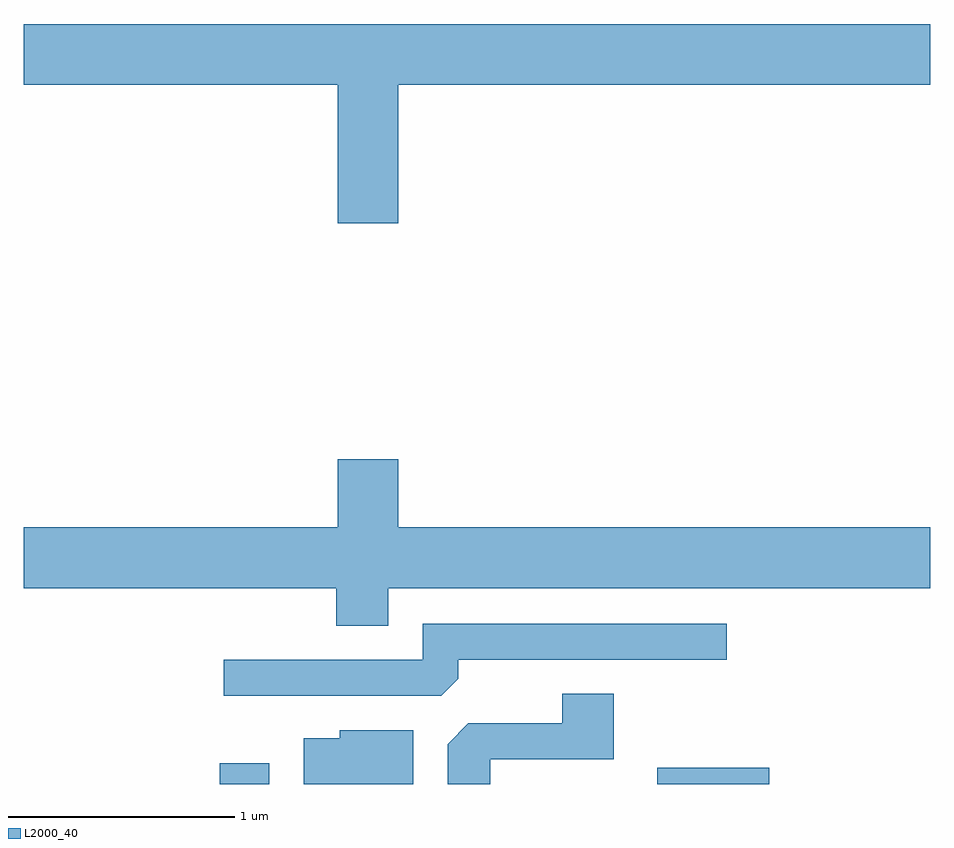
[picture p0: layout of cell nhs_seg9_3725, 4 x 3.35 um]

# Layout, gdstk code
import gdstk
lib = gdstk.Library(unit=1e-6, precision=1e-09)
def R(c, l, rs):  # rectangles x0, y0, x1, y1
    for r in rs: c.add(gdstk.rectangle(r[:2], r[2:], *l))
def P(c, l, *ps):  # polygons
    for p in ps: c.add(gdstk.Polygon(p, *l))
L2000_40 = (2000, 40)

nhs_seg9_3725 = lib.new_cell('nhs_seg9_3725')
R(nhs_seg9_3725, L2000_40, [(294.476,2066.432,294.694,2066.524), (296.406,2066.432,296.899,2066.504)])
P(nhs_seg9_3725, L2000_40, [(295.264,2069.516),(297.611,2069.516),(297.611,2069.784),(293.611,2069.784),(293.611,2069.516),(294.996,2069.516),(294.996,2068.906),(295.264,2068.906)],
  [(295.219,2067.296),(297.611,2067.296),(297.611,2067.564),(295.264,2067.564),(295.264,2067.864),(294.996,2067.864),(294.996,2067.564),(293.611,2067.564),(293.611,2067.296),(294.991,2067.296),(294.991,2067.131),(295.219,2067.131)],
  [(295.529,2066.896),(295.529,2066.981),(296.713,2066.981),(296.713,2067.139),(295.371,2067.139),(295.371,2066.979),(294.493,2066.979),(294.493,2066.821),(295.454,2066.821)],
  [(295.669,2066.541),(296.214,2066.541),(296.214,2066.829),(295.986,2066.829),(295.986,2066.699),(295.572,2066.699),(295.481,2066.608),(295.481,2066.432),(295.669,2066.432)],
  [(295.329,2066.669),(295.006,2066.669),(295.006,2066.634),(294.846,2066.634),(294.846,2066.432),(295.329,2066.432)])

lib.write_gds('nhs_seg9_3725.gds')
